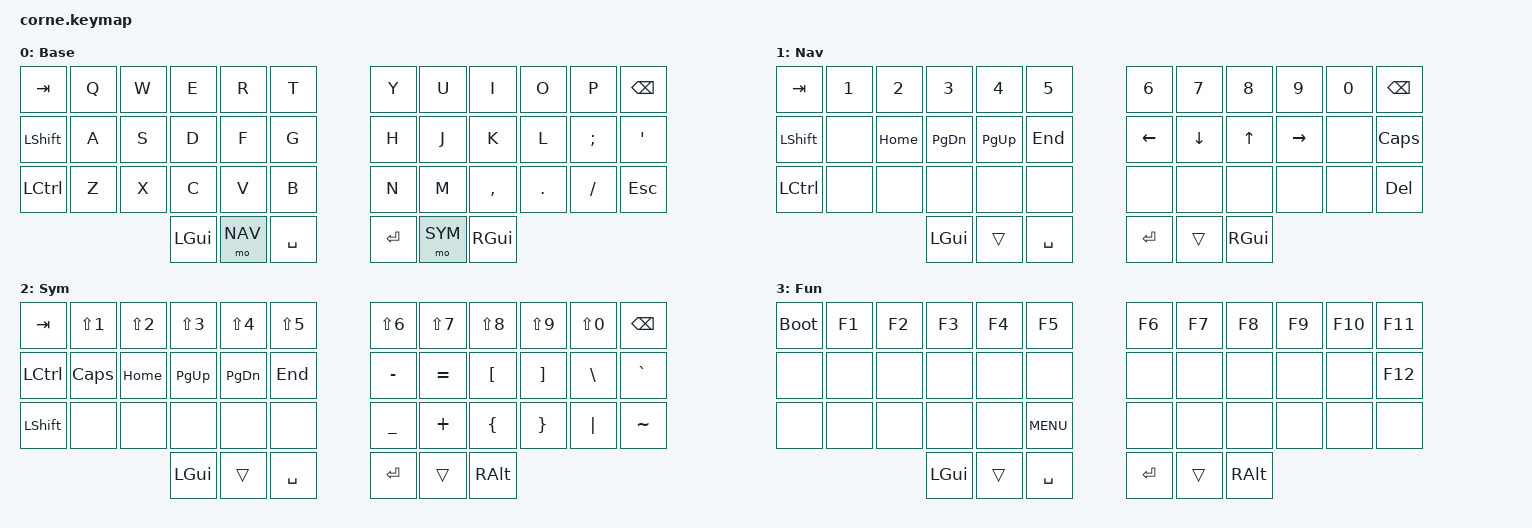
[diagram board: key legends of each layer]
#include <behaviors.dtsi>
#include <dt-bindings/zmk/keys.h>

#define BASE 0
#define NAV  1
#define SYM  2
#define FUN  3

/*
 * Port of crkbd.layout.json for the 42-key, 6-column Corne layout.
 * Bindings follow the Corne matrix-transform order: each row from left to
 * right, followed by the left and right thumb clusters.
 * The source VIA backup has six non-physical KC_NO padding slots; they are
 * deliberately omitted here.
 *
 * FN_MO13 and FN_MO23 are inferred as the momentary NAV and SYM layers.
 * The VIA export contains no binding that activates FUN.
 */

/ {
    keymap {
        compatible = "zmk,keymap";

        base_layer {
            display-name = "Base";
            bindings = <
                &kp TAB   &kp Q     &kp W     &kp E     &kp R     &kp T     &kp Y     &kp U     &kp I     &kp O     &kp P    &kp BSPC
                &kp LSHFT &kp A     &kp S     &kp D     &kp F     &kp G     &kp H     &kp J     &kp K     &kp L     &kp SEMI &kp APOS
                &kp LCTRL &kp Z     &kp X     &kp C     &kp V     &kp B     &kp N     &kp M     &kp COMMA &kp DOT   &kp SLASH &kp ESC
                &kp LGUI  &mo NAV   &kp SPACE  &kp ENTER &mo SYM   &kp RGUI
            >;
        };

        nav_layer {
            display-name = "Nav";
            bindings = <
                &kp TAB   &kp N1    &kp N2    &kp N3    &kp N4    &kp N5    &kp N6    &kp N7    &kp N8    &kp N9    &kp N0    &kp BSPC
                &kp LSHFT &none     &kp HOME  &kp PG_DN &kp PG_UP &kp END   &kp LEFT  &kp DOWN  &kp UP    &kp RIGHT &none     &kp CAPS
                &kp LCTRL &none     &none     &none     &none     &none     &none     &none     &none     &none     &none     &kp DEL
                &kp LGUI  &trans    &kp SPACE &kp ENTER &trans    &kp RGUI
            >;
        };

        sym_layer {
            display-name = "Sym";
            bindings = <
                &kp TAB   &kp LS(N1) &kp LS(N2) &kp LS(N3) &kp LS(N4) &kp LS(N5) &kp LS(N6) &kp LS(N7) &kp LS(N8) &kp LS(N9) &kp LS(N0) &kp BSPC
                &kp LCTRL &kp CAPS   &kp HOME   &kp PG_UP   &kp PG_DN   &kp END    &kp MINUS  &kp EQUAL  &kp LBKT   &kp RBKT   &kp BSLH   &kp GRAVE
                &kp LSHFT &none      &none      &none       &none       &none      &kp UNDER  &kp PLUS   &kp LBRC   &kp RBRC   &kp PIPE   &kp TILDE
                &kp LGUI  &trans     &kp SPACE  &kp ENTER   &trans      &kp RALT
            >;
        };

        fun_layer {
            display-name = "Fun";
            bindings = <
                &bootloader &kp F1  &kp F2  &kp F3  &kp F4  &kp F5     &kp F6  &kp F7  &kp F8  &kp F9  &kp F10 &kp F11
                &none       &none   &none   &none   &none   &none      &none   &none   &none   &none   &none   &kp F12
                &none       &none   &none   &none   &none   &kp K_MENU &none   &none   &none   &none   &none   &none
                &kp LGUI    &trans  &kp SPACE &kp ENTER &trans &kp RALT
            >;
        };
    };
};
